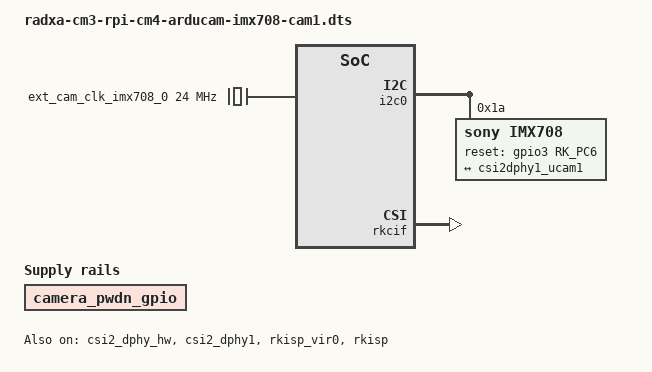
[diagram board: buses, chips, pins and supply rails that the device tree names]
/dts-v1/;
/plugin/;

#include <dt-bindings/gpio/gpio.h>
#include <dt-bindings/pinctrl/rockchip.h>

/ {
	metadata {
		title = "Enable Arducam Camera IMX708 on CAM1";
		compatible = "radxa,cm3-rpi-cm4-io";
		category = "camera";
		exclusive = "csi2_dphy1";
		description = "Enable Arducam Camera IMX708 on CAM1.";
	};

	fragment@0 {
		target-path = "/";

		__overlay__ {
			ext_cam_clk_imx708_0: ext-cam-clk-imx708-0 {
				status = "okay";
				compatible = "fixed-clock";
				clock-frequency = <24000000>;
				clock-output-names = "ext_cam_clk_imx708_0";
				#clock-cells = <0>;
			};

			camera_pwdn_gpio: camera-pwdn-gpio {
				status = "okay";
				compatible = "regulator-fixed";
				regulator-name = "camera_pwdn_gpio";
				regulator-always-on;
				regulator-boot-on;
				enable-active-high;
				pwdn-gpios = <&gpio4 RK_PC1 GPIO_ACTIVE_HIGH>;
				pinctrl-names = "default";
				pinctrl-0 = <&cam_pwdn_gpio>;
			};
		};
	};

	fragment@1 {
		target = <&i2c0>;

		__overlay__ {
			status = "okay";
			pinctrl-names = "default";
			pinctrl-0 = <&i2c0_xfer>;

			#address-cells = <1>;
			#size-cells = <0>;

			imx708: imx708@1a {
				status = "okay";
				compatible = "sony,imx708";
				reg = <0x1a>;
				reset-gpios = <&gpio3 RK_PC6 GPIO_ACTIVE_HIGH>;
				clocks = <&ext_cam_clk_imx708_0>;
				clock-names = "xclk";

				rotation = <180>;

				rockchip,camera-module-index = <1>;
				rockchip,camera-module-facing = "front";
				rockchip,camera-module-name = "arducam-imx708";
				rockchip,camera-module-lens-name = "default";

				port {
					imx708_1_out: endpoint {
						remote-endpoint = <&csi2dphy1_ucam1>;
						data-lanes = <1 2>;
						link-frequencies = /bits/ 64 <450000000>;
					};
				};
			};
		};
	};

	fragment@2 {
		target = <&csi2_dphy_hw>;

		__overlay__ {
			status = "okay";
		};
	};

	fragment@3 {
		target = <&csi2_dphy1>;

		__overlay__ {
			status = "okay";

			ports {
				#address-cells = <1>;
				#size-cells = <0>;

				port@0 {
					reg = <0>;
					#address-cells = <1>;
					#size-cells = <0>;

					csi2dphy1_ucam1: endpoint@1 {
						reg = <1>;
						remote-endpoint = <&imx708_1_out>;
						data-lanes = <1 2>;
					};
				};

				port@1 {
					reg = <1>;
					#address-cells = <1>;
					#size-cells = <0>;

					csi2dphy1_out: endpoint@1 {
						reg = <1>;
						remote-endpoint = <&isp0_in>;
					};
				};
			};
		};
	};

	fragment@4 {
		target = <&rkisp_vir0>;

		__overlay__ {
			status = "okay";

			port {
				#address-cells = <1>;
				#size-cells = <0>;

				isp0_in: endpoint@0 {
					reg = <0>;
					remote-endpoint = <&csi2dphy1_out>;
				};
			};
		};
	};

	fragment@5 {
		target = <&rkisp>;

		__overlay__ {
			status = "okay";
		};
	};

	fragment@6 {
		target = <&rkisp_mmu>;

		__overlay__ {
			status = "okay";
		};
	};

	fragment@7 {
		target = <&rkcif_mmu>;

		__overlay__ {
			status = "okay";
		};
	};

	fragment@8 {
		target = <&rkcif>;

		__overlay__ {
			status = "okay";
		};
	};


	fragment@9 {
		target = <&pinctrl>;

		__overlay__ {
			camera {
				cam_pwdn_gpio: cam-pwdn-gpio {
					rockchip,pins = <4 RK_PC1 RK_FUNC_GPIO &pcfg_pull_up>;
				};
			};
		};
	};
};
